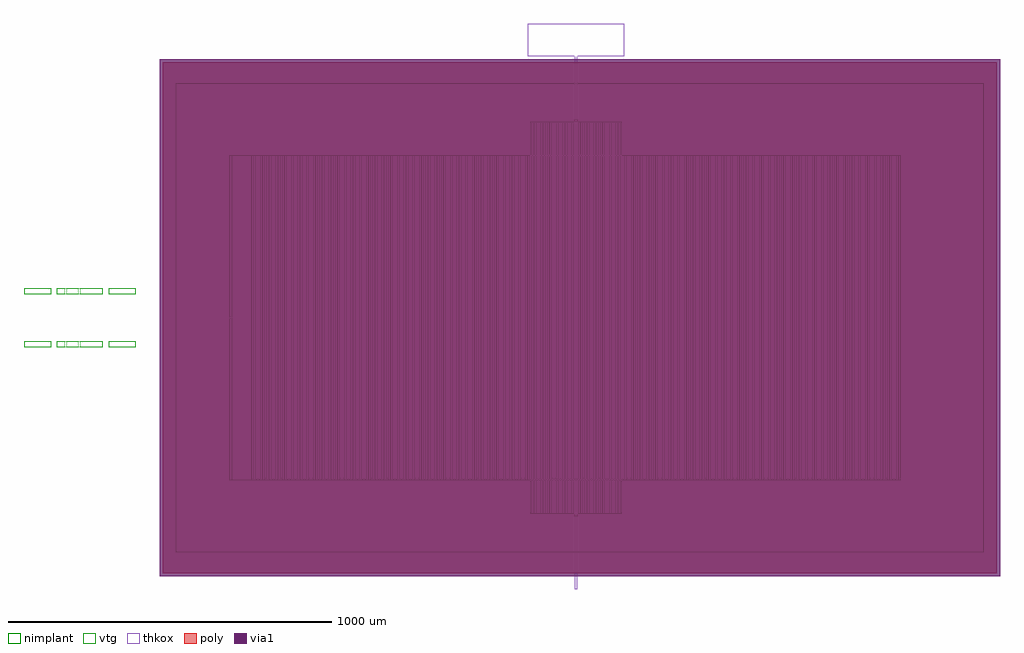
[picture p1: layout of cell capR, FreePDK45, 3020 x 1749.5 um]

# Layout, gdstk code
import gdstk
lib = gdstk.Library(unit=1e-6, precision=1e-09)
def R(c, l, rs):  # rectangles x0, y0, x1, y1
    for r in rs: c.add(gdstk.rectangle(r[:2], r[2:], *l))
def P(c, l, *ps):  # polygons
    for p in ps: c.add(gdstk.Polygon(p, *l))
nimplant = (4, 0)
vtg = (6, 0)
thkox = (8, 0)
poly = (9, 0)
via1 = (12, 0)

cap_300mhz = lib.new_cell('Cap_300MHz')
P(cap_300mhz, vtg, [(-6,-614),(-6,-607),(-141,-607),(-141,-505),(-139,-505),(-139,-605),(-133,-605),(-133,-505),(-131,-505),(-131,-605),(-125,-605),(-125,-505),(-123,-505),(-123,-605),(-117,-605),(-117,-505),(-115,-505),(-115,-605),(-109,-605),(-109,-505),(-107,-505),(-107,-605),(-101,-605),(-101,-505),(-99,-505),(-99,-605),(-93,-605),(-93,-505),(-91,-505),(-91,-605),(-85,-605),(-85,-505),(-83,-505),(-83,-605),(-77,-605),(-77,-505),(-75,-505),(-75,-605),(-69,-605),(-69,-505),(-67,-505),(-67,-605),(-61,-605),(-61,-505),(-59,-505),(-59,-605),(-53,-605),(-53,-505),(-51,-505),(-51,-605),(-45,-605),(-45,-505),(-43,-505),(-43,-605),(-37,-605),(-37,-505),(-35,-505),(-35,-605),(-29,-605),(-29,-505),(-27,-505),(-27,-605),(-21,-605),(-21,-505),(-19,-505),(-19,-605),(-13,-605),(-13,-505),(-11,-505),(-11,-605),(-5,-605),(-5,-505),(-3,-505),(-3,-605),(3,-605),(3,-505),(5,-505),(5,-605),(11,-605),(11,-505),(13,-505),(13,-605),(19,-605),(19,-505),(21,-505),(21,-605),(27,-605),(27,-505),(29,-505),(29,-605),(35,-605),(35,-505),(37,-505),(37,-605),(43,-605),(43,-505),(45,-505),(45,-605),(51,-605),(51,-505),(53,-505),(53,-605),(59,-605),(59,-505),(61,-505),(61,-605),(67,-605),(67,-505),(69,-505),(69,-605),(75,-605),(75,-505),(77,-505),(77,-605),(83,-605),(83,-505),(85,-505),(85,-605),(91,-605),(91,-505),(93,-505),(93,-605),(99,-605),(99,-505),(101,-505),(101,-605),(107,-605),(107,-505),(109,-505),(109,-605),(115,-605),(115,-505),(117,-505),(117,-605),(123,-605),(123,-505),(125,-505),(125,-605),(131,-605),(131,-505),(133,-505),(133,-605),(139,-605),(139,-505),(141,-505),(141,-607),(6,-607),(6,-614)],
  [(-137,505),(-137,605),(-141,605),(-141,607),(-6,607),(-6,614),(6,614),(6,607),(141,607),(141,605),(137,605),(137,505),(135,505),(135,605),(129,605),(129,505),(127,505),(127,605),(121,605),(121,505),(119,505),(119,605),(113,605),(113,505),(111,505),(111,605),(105,605),(105,505),(103,505),(103,605),(97,605),(97,505),(95,505),(95,605),(89,605),(89,505),(87,505),(87,605),(81,605),(81,505),(79,505),(79,605),(73,605),(73,505),(71,505),(71,605),(65,605),(65,505),(63,505),(63,605),(57,605),(57,505),(55,505),(55,605),(49,605),(49,505),(47,505),(47,605),(41,605),(41,505),(39,505),(39,605),(33,605),(33,505),(31,505),(31,605),(25,605),(25,505),(23,505),(23,605),(17,605),(17,505),(15,505),(15,605),(9,605),(9,505),(7,505),(7,605),(1,605),(1,505),(-1,505),(-1,605),(-7,605),(-7,505),(-9,505),(-9,605),(-15,605),(-15,505),(-17,505),(-17,605),(-23,605),(-23,505),(-25,505),(-25,605),(-31,605),(-31,505),(-33,505),(-33,605),(-39,605),(-39,505),(-41,505),(-41,605),(-47,605),(-47,505),(-49,505),(-49,605),(-55,605),(-55,505),(-57,505),(-57,605),(-63,605),(-63,505),(-65,505),(-65,605),(-71,605),(-71,505),(-73,505),(-73,605),(-79,605),(-79,505),(-81,505),(-81,605),(-87,605),(-87,505),(-89,505),(-89,605),(-95,605),(-95,505),(-97,505),(-97,605),(-103,605),(-103,505),(-105,505),(-105,605),(-111,605),(-111,505),(-113,505),(-113,605),(-119,605),(-119,505),(-121,505),(-121,605),(-127,605),(-127,505),(-129,505),(-129,605),(-135,605),(-135,505)],
  [(-1001,-499),(-1001,501),(-1005,501),(-1005,503),(-141,503),(-141,603),(-139,603),(-139,503),(-133,503),(-133,603),(-131,603),(-131,503),(-125,503),(-125,603),(-123,603),(-123,503),(-117,503),(-117,603),(-115,603),(-115,503),(-109,503),(-109,603),(-107,603),(-107,503),(-101,503),(-101,603),(-99,603),(-99,503),(-93,503),(-93,603),(-91,603),(-91,503),(-85,503),(-85,603),(-83,603),(-83,503),(-77,503),(-77,603),(-75,603),(-75,503),(-69,503),(-69,603),(-67,603),(-67,503),(-61,503),(-61,603),(-59,603),(-59,503),(-53,503),(-53,603),(-51,603),(-51,503),(-45,503),(-45,603),(-43,603),(-43,503),(-37,503),(-37,603),(-35,603),(-35,503),(-29,503),(-29,603),(-27,603),(-27,503),(-21,503),(-21,603),(-19,603),(-19,503),(-13,503),(-13,603),(-11,603),(-11,503),(-5,503),(-5,603),(-3,603),(-3,503),(3,503),(3,603),(5,603),(5,503),(11,503),(11,603),(13,603),(13,503),(19,503),(19,603),(21,603),(21,503),(27,503),(27,603),(29,603),(29,503),(35,503),(35,603),(37,603),(37,503),(43,503),(43,603),(45,603),(45,503),(51,503),(51,603),(53,603),(53,503),(59,503),(59,603),(61,603),(61,503),(67,503),(67,603),(69,603),(69,503),(75,503),(75,603),(77,603),(77,503),(83,503),(83,603),(85,603),(85,503),(91,503),(91,603),(93,603),(93,503),(99,503),(99,603),(101,603),(101,503),(107,503),(107,603),(109,603),(109,503),(115,503),(115,603),(117,603),(117,503),(123,503),(123,603),(125,603),(125,503),(131,503),(131,603),(133,603),(133,503),(139,503),(139,603),(141,603),(141,503),(1005,503),(1005,501),(1001,501),(1001,-499),(999,-499),(999,501),(993,501),(993,-499),(991,-499),(991,501),(985,501),(985,-499),(983,-499),(983,501),(977,501),(977,-499),(975,-499),(975,501),(969,501),(969,-499),(967,-499),(967,501),(961,501),(961,-499),(959,-499),(959,501),(953,501),(953,-499),(951,-499),(951,501),(945,501),(945,-499),(943,-499),(943,501),(937,501),(937,-499),(935,-499),(935,501),(929,501),(929,-499),(927,-499),(927,501),(921,501),(921,-499),(919,-499),(919,501),(913,501),(913,-499),(911,-499),(911,501),(905,501),(905,-499),(903,-499),(903,501),(897,501),(897,-499),(895,-499),(895,501),(889,501),(889,-499),(887,-499),(887,501),(881,501),(881,-499),(879,-499),(879,501),(873,501),(873,-499),(871,-499),(871,501),(865,501),(865,-499),(863,-499),(863,501),(857,501),(857,-499),(855,-499),(855,501),(849,501),(849,-499),(847,-499),(847,501),(841,501),(841,-499),(839,-499),(839,501),(833,501),(833,-499),(831,-499),(831,501),(825,501),(825,-499),(823,-499),(823,501),(817,501),(817,-499),(815,-499),(815,501),(809,501),(809,-499),(807,-499),(807,501),(801,501),(801,-499),(799,-499),(799,501),(793,501),(793,-499),(791,-499),(791,501),(785,501),(785,-499),(783,-499),(783,501),(777,501),(777,-499),(775,-499),(775,501),(769,501),(769,-499),(767,-499),(767,501),(761,501),(761,-499),(759,-499),(759,501),(753,501),(753,-499),(751,-499),(751,501),(745,501),(745,-499),(743,-499),(743,501),(737,501),(737,-499),(735,-499),(735,501),(729,501),(729,-499),(727,-499),(727,501),(721,501),(721,-499),(719,-499),(719,501),(713,501),(713,-499),(711,-499),(711,501),(705,501),(705,-499),(703,-499),(703,501),(697,501),(697,-499),(695,-499),(695,501),(689,501),(689,-499),(687,-499),(687,501),(681,501),(681,-499),(679,-499),(679,501),(673,501),(673,-499),(671,-499),(671,501),(665,501),(665,-499),(663,-499),(663,501),(657,501),(657,-499),(655,-499),(655,501),(649,501),(649,-499),(647,-499),(647,501),(641,501),(641,-499),(639,-499),(639,501),(633,501),(633,-499),(631,-499),(631,501),(625,501),(625,-499),(623,-499),(623,501),(617,501),(617,-499),(615,-499),(615,501),(609,501),(609,-499),(607,-499),(607,501),(601,501),(601,-499),(599,-499),(599,501),(593,501),(593,-499),(591,-499),(591,501),(585,501),(585,-499),(583,-499),(583,501),(577,501),(577,-499),(575,-499),(575,501),(569,501),(569,-499),(567,-499),(567,501),(561,501),(561,-499),(559,-499),(559,501),(553,501),(553,-499),(551,-499),(551,501),(545,501),(545,-499),(543,-499),(543,501),(537,501),(537,-499),(535,-499),(535,501),(529,501),(529,-499),(527,-499),(527,501),(521,501),(521,-499),(519,-499),(519,501),(513,501),(513,-499),(511,-499),(511,501),(505,501),(505,-499),(503,-499),(503,501),(497,501),(497,-499),(495,-499),(495,501),(489,501),(489,-499),(487,-499),(487,501),(481,501),(481,-499),(479,-499),(479,501),(473,501),(473,-499),(471,-499),(471,501),(465,501),(465,-499),(463,-499),(463,501),(457,501),(457,-499),(455,-499),(455,501),(449,501),(449,-499),(447,-499),(447,501),(441,501),(441,-499),(439,-499),(439,501),(433,501),(433,-499),(431,-499),(431,501),(425,501),(425,-499),(423,-499),(423,501),(417,501),(417,-499),(415,-499),(415,501),(409,501),(409,-499),(407,-499),(407,501),(401,501),(401,-499),(399,-499),(399,501),(393,501),(393,-499),(391,-499),(391,501),(385,501),(385,-499),(383,-499),(383,501),(377,501),(377,-499),(375,-499),(375,501),(369,501),(369,-499),(367,-499),(367,501),(361,501),(361,-499),(359,-499),(359,501),(353,501),(353,-499),(351,-499),(351,501),(345,501),(345,-499),(343,-499),(343,501),(337,501),(337,-499),(335,-499),(335,501),(329,501),(329,-499),(327,-499),(327,501),(321,501),(321,-499),(319,-499),(319,501),(313,501),(313,-499),(311,-499),(311,501),(305,501),(305,-499),(303,-499),(303,501),(297,501),(297,-499),(295,-499),(295,501),(289,501),(289,-499),(287,-499),(287,501),(281,501),(281,-499),(279,-499),(279,501),(273,501),(273,-499),(271,-499),(271,501),(265,501),(265,-499),(263,-499),(263,501),(257,501),(257,-499),(255,-499),(255,501),(249,501),(249,-499),(247,-499),(247,501),(241,501),(241,-499),(239,-499),(239,501),(233,501),(233,-499),(231,-499),(231,501),(225,501),(225,-499),(223,-499),(223,501),(217,501),(217,-499),(215,-499),(215,501),(209,501),(209,-499),(207,-499),(207,501),(201,501),(201,-499),(199,-499),(199,501),(193,501),(193,-499),(191,-499),(191,501),(185,501),(185,-499),(183,-499),(183,501),(177,501),(177,-499),(175,-499),(175,501),(169,501),(169,-499),(167,-499),(167,501),(161,501),(161,-499),(159,-499),(159,501),(153,501),(153,-499),(151,-499),(151,501),(145,501),(145,-499),(143,-499),(143,501),(137,501),(137,-499),(135,-499),(135,501),(129,501),(129,-499),(127,-499),(127,501),(121,501),(121,-499),(119,-499),(119,501),(113,501),(113,-499),(111,-499),(111,501),(105,501),(105,-499),(103,-499),(103,501),(97,501),(97,-499),(95,-499),(95,501),(89,501),(89,-499),(87,-499),(87,501),(81,501),(81,-499),(79,-499),(79,501),(73,501),(73,-499),(71,-499),(71,501),(65,501),(65,-499),(63,-499),(63,501),(57,501),(57,-499),(55,-499),(55,501),(49,501),(49,-499),(47,-499),(47,501),(41,501),(41,-499),(39,-499),(39,501),(33,501),(33,-499),(31,-499),(31,501),(25,501),(25,-499),(23,-499),(23,501),(17,501),(17,-499),(15,-499),(15,501),(9,501),(9,-499),(7,-499),(7,501),(1,501),(1,-499),(-1,-499),(-1,501),(-7,501),(-7,-499),(-9,-499),(-9,501),(-15,501),(-15,-499),(-17,-499),(-17,501),(-23,501),(-23,-499),(-25,-499),(-25,501),(-31,501),(-31,-499),(-33,-499),(-33,501),(-39,501),(-39,-499),(-41,-499),(-41,501),(-47,501),(-47,-499),(-49,-499),(-49,501),(-55,501),(-55,-499),(-57,-499),(-57,501),(-63,501),(-63,-499),(-65,-499),(-65,501),(-71,501),(-71,-499),(-73,-499),(-73,501),(-79,501),(-79,-499),(-81,-499),(-81,501),(-87,501),(-87,-499),(-89,-499),(-89,501),(-95,501),(-95,-499),(-97,-499),(-97,501),(-103,501),(-103,-499),(-105,-499),(-105,501),(-111,501),(-111,-499),(-113,-499),(-113,501),(-119,501),(-119,-499),(-121,-499),(-121,501),(-127,501),(-127,-499),(-129,-499),(-129,501),(-135,501),(-135,-499),(-137,-499),(-137,501),(-143,501),(-143,-499),(-145,-499),(-145,501),(-151,501),(-151,-499),(-153,-499),(-153,501),(-159,501),(-159,-499),(-161,-499),(-161,501),(-167,501),(-167,-499),(-169,-499),(-169,501),(-175,501),(-175,-499),(-177,-499),(-177,501),(-183,501),(-183,-499),(-185,-499),(-185,501),(-191,501),(-191,-499),(-193,-499),(-193,501),(-199,501),(-199,-499),(-201,-499),(-201,501),(-207,501),(-207,-499),(-209,-499),(-209,501),(-215,501),(-215,-499),(-217,-499),(-217,501),(-223,501),(-223,-499),(-225,-499),(-225,501),(-231,501),(-231,-499),(-233,-499),(-233,501),(-239,501),(-239,-499),(-241,-499),(-241,501),(-247,501),(-247,-499),(-249,-499),(-249,501),(-255,501),(-255,-499),(-257,-499),(-257,501),(-263,501),(-263,-499),(-265,-499),(-265,501),(-271,501),(-271,-499),(-273,-499),(-273,501),(-279,501),(-279,-499),(-281,-499),(-281,501),(-287,501),(-287,-499),(-289,-499),(-289,501),(-295,501),(-295,-499),(-297,-499),(-297,501),(-303,501),(-303,-499),(-305,-499),(-305,501),(-311,501),(-311,-499),(-313,-499),(-313,501),(-319,501),(-319,-499),(-321,-499),(-321,501),(-327,501),(-327,-499),(-329,-499),(-329,501),(-335,501),(-335,-499),(-337,-499),(-337,501),(-343,501),(-343,-499),(-345,-499),(-345,501),(-351,501),(-351,-499),(-353,-499),(-353,501),(-359,501),(-359,-499),(-361,-499),(-361,501),(-367,501),(-367,-499),(-369,-499),(-369,501),(-375,501),(-375,-499),(-377,-499),(-377,501),(-383,501),(-383,-499),(-385,-499),(-385,501),(-391,501),(-391,-499),(-393,-499),(-393,501),(-399,501),(-399,-499),(-401,-499),(-401,501),(-407,501),(-407,-499),(-409,-499),(-409,501),(-415,501),(-415,-499),(-417,-499),(-417,501),(-423,501),(-423,-499),(-425,-499),(-425,501),(-431,501),(-431,-499),(-433,-499),(-433,501),(-439,501),(-439,-499),(-441,-499),(-441,501),(-447,501),(-447,-499),(-449,-499),(-449,501),(-455,501),(-455,-499),(-457,-499),(-457,501),(-463,501),(-463,-499),(-465,-499),(-465,501),(-471,501),(-471,-499),(-473,-499),(-473,501),(-479,501),(-479,-499),(-481,-499),(-481,501),(-487,501),(-487,-499),(-489,-499),(-489,501),(-495,501),(-495,-499),(-497,-499),(-497,501),(-503,501),(-503,-499),(-505,-499),(-505,501),(-511,501),(-511,-499),(-513,-499),(-513,501),(-519,501),(-519,-499),(-521,-499),(-521,501),(-527,501),(-527,-499),(-529,-499),(-529,501),(-535,501),(-535,-499),(-537,-499),(-537,501),(-543,501),(-543,-499),(-545,-499),(-545,501),(-551,501),(-551,-499),(-553,-499),(-553,501),(-559,501),(-559,-499),(-561,-499),(-561,501),(-567,501),(-567,-499),(-569,-499),(-569,501),(-575,501),(-575,-499),(-577,-499),(-577,501),(-583,501),(-583,-499),(-585,-499),(-585,501),(-591,501),(-591,-499),(-593,-499),(-593,501),(-599,501),(-599,-499),(-601,-499),(-601,501),(-607,501),(-607,-499),(-609,-499),(-609,501),(-615,501),(-615,-499),(-617,-499),(-617,501),(-623,501),(-623,-499),(-625,-499),(-625,501),(-631,501),(-631,-499),(-633,-499),(-633,501),(-639,501),(-639,-499),(-641,-499),(-641,501),(-647,501),(-647,-499),(-649,-499),(-649,501),(-655,501),(-655,-499),(-657,-499),(-657,501),(-663,501),(-663,-499),(-665,-499),(-665,501),(-671,501),(-671,-499),(-673,-499),(-673,501),(-679,501),(-679,-499),(-681,-499),(-681,501),(-687,501),(-687,-499),(-689,-499),(-689,501),(-695,501),(-695,-499),(-697,-499),(-697,501),(-703,501),(-703,-499),(-705,-499),(-705,501),(-711,501),(-711,-499),(-713,-499),(-713,501),(-719,501),(-719,-499),(-721,-499),(-721,501),(-727,501),(-727,-499),(-729,-499),(-729,501),(-735,501),(-735,-499),(-737,-499),(-737,501),(-743,501),(-743,-499),(-745,-499),(-745,501),(-751,501),(-751,-499),(-753,-499),(-753,501),(-759,501),(-759,-499),(-761,-499),(-761,501),(-767,501),(-767,-499),(-769,-499),(-769,501),(-775,501),(-775,-499),(-777,-499),(-777,501),(-783,501),(-783,-499),(-785,-499),(-785,501),(-791,501),(-791,-499),(-793,-499),(-793,501),(-799,501),(-799,-499),(-801,-499),(-801,501),(-807,501),(-807,-499),(-809,-499),(-809,501),(-815,501),(-815,-499),(-817,-499),(-817,501),(-823,501),(-823,-499),(-825,-499),(-825,501),(-831,501),(-831,-499),(-833,-499),(-833,501),(-839,501),(-839,-499),(-841,-499),(-841,501),(-847,501),(-847,-499),(-849,-499),(-849,501),(-855,501),(-855,-499),(-857,-499),(-857,501),(-863,501),(-863,-499),(-865,-499),(-865,501),(-871,501),(-871,-499),(-873,-499),(-873,501),(-879,501),(-879,-499),(-881,-499),(-881,501),(-887,501),(-887,-499),(-889,-499),(-889,501),(-895,501),(-895,-499),(-897,-499),(-897,501),(-903,501),(-903,-499),(-905,-499),(-905,501),(-911,501),(-911,-499),(-913,-499),(-913,501),(-919,501),(-919,-499),(-921,-499),(-921,501),(-927,501),(-927,-499),(-929,-499),(-929,501),(-935,501),(-935,-499),(-937,-499),(-937,501),(-943,501),(-943,-499),(-945,-499),(-945,501),(-951,501),(-951,-499),(-953,-499),(-953,501),(-959,501),(-959,-499),(-961,-499),(-961,501),(-967,501),(-967,-499),(-969,-499),(-969,501),(-975,501),(-975,-499),(-977,-499),(-977,501),(-983,501),(-983,-499),(-985,-499),(-985,501),(-991,501),(-991,-499),(-993,-499),(-993,501),(-999,501),(-999,-499)],
  [(-137,-603),(-137,-503),(-1005,-503),(-1005,499),(-1003,499),(-1003,-501),(-997,-501),(-997,499),(-995,499),(-995,-501),(-989,-501),(-989,499),(-987,499),(-987,-501),(-981,-501),(-981,499),(-979,499),(-979,-501),(-973,-501),(-973,499),(-971,499),(-971,-501),(-965,-501),(-965,499),(-963,499),(-963,-501),(-957,-501),(-957,499),(-955,499),(-955,-501),(-949,-501),(-949,499),(-947,499),(-947,-501),(-941,-501),(-941,499),(-939,499),(-939,-501),(-933,-501),(-933,499),(-931,499),(-931,-501),(-925,-501),(-925,499),(-923,499),(-923,-501),(-917,-501),(-917,499),(-915,499),(-915,-501),(-909,-501),(-909,499),(-907,499),(-907,-501),(-901,-501),(-901,499),(-899,499),(-899,-501),(-893,-501),(-893,499),(-891,499),(-891,-501),(-885,-501),(-885,499),(-883,499),(-883,-501),(-877,-501),(-877,499),(-875,499),(-875,-501),(-869,-501),(-869,499),(-867,499),(-867,-501),(-861,-501),(-861,499),(-859,499),(-859,-501),(-853,-501),(-853,499),(-851,499),(-851,-501),(-845,-501),(-845,499),(-843,499),(-843,-501),(-837,-501),(-837,499),(-835,499),(-835,-501),(-829,-501),(-829,499),(-827,499),(-827,-501),(-821,-501),(-821,499),(-819,499),(-819,-501),(-813,-501),(-813,499),(-811,499),(-811,-501),(-805,-501),(-805,499),(-803,499),(-803,-501),(-797,-501),(-797,499),(-795,499),(-795,-501),(-789,-501),(-789,499),(-787,499),(-787,-501),(-781,-501),(-781,499),(-779,499),(-779,-501),(-773,-501),(-773,499),(-771,499),(-771,-501),(-765,-501),(-765,499),(-763,499),(-763,-501),(-757,-501),(-757,499),(-755,499),(-755,-501),(-749,-501),(-749,499),(-747,499),(-747,-501),(-741,-501),(-741,499),(-739,499),(-739,-501),(-733,-501),(-733,499),(-731,499),(-731,-501),(-725,-501),(-725,499),(-723,499),(-723,-501),(-717,-501),(-717,499),(-715,499),(-715,-501),(-709,-501),(-709,499),(-707,499),(-707,-501),(-701,-501),(-701,499),(-699,499),(-699,-501),(-693,-501),(-693,499),(-691,499),(-691,-501),(-685,-501),(-685,499),(-683,499),(-683,-501),(-677,-501),(-677,499),(-675,499),(-675,-501),(-669,-501),(-669,499),(-667,499),(-667,-501),(-661,-501),(-661,499),(-659,499),(-659,-501),(-653,-501),(-653,499),(-651,499),(-651,-501),(-645,-501),(-645,499),(-643,499),(-643,-501),(-637,-501),(-637,499),(-635,499),(-635,-501),(-629,-501),(-629,499),(-627,499),(-627,-501),(-621,-501),(-621,499),(-619,499),(-619,-501),(-613,-501),(-613,499),(-611,499),(-611,-501),(-605,-501),(-605,499),(-603,499),(-603,-501),(-597,-501),(-597,499),(-595,499),(-595,-501),(-589,-501),(-589,499),(-587,499),(-587,-501),(-581,-501),(-581,499),(-579,499),(-579,-501),(-573,-501),(-573,499),(-571,499),(-571,-501),(-565,-501),(-565,499),(-563,499),(-563,-501),(-557,-501),(-557,499),(-555,499),(-555,-501),(-549,-501),(-549,499),(-547,499),(-547,-501),(-541,-501),(-541,499),(-539,499),(-539,-501),(-533,-501),(-533,499),(-531,499),(-531,-501),(-525,-501),(-525,499),(-523,499),(-523,-501),(-517,-501),(-517,499),(-515,499),(-515,-501),(-509,-501),(-509,499),(-507,499),(-507,-501),(-501,-501),(-501,499),(-499,499),(-499,-501),(-493,-501),(-493,499),(-491,499),(-491,-501),(-485,-501),(-485,499),(-483,499),(-483,-501),(-477,-501),(-477,499),(-475,499),(-475,-501),(-469,-501),(-469,499),(-467,499),(-467,-501),(-461,-501),(-461,499),(-459,499),(-459,-501),(-453,-501),(-453,499),(-451,499),(-451,-501),(-445,-501),(-445,499),(-443,499),(-443,-501),(-437,-501),(-437,499),(-435,499),(-435,-501),(-429,-501),(-429,499),(-427,499),(-427,-501),(-421,-501),(-421,499),(-419,499),(-419,-501),(-413,-501),(-413,499),(-411,499),(-411,-501),(-405,-501),(-405,499),(-403,499),(-403,-501),(-397,-501),(-397,499),(-395,499),(-395,-501),(-389,-501),(-389,499),(-387,499),(-387,-501),(-381,-501),(-381,499),(-379,499),(-379,-501),(-373,-501),(-373,499),(-371,499),(-371,-501),(-365,-501),(-365,499),(-363,499),(-363,-501),(-357,-501),(-357,499),(-355,499),(-355,-501),(-349,-501),(-349,499),(-347,499),(-347,-501),(-341,-501),(-341,499),(-339,499),(-339,-501),(-333,-501),(-333,499),(-331,499),(-331,-501),(-325,-501),(-325,499),(-323,499),(-323,-501),(-317,-501),(-317,499),(-315,499),(-315,-501),(-309,-501),(-309,499),(-307,499),(-307,-501),(-301,-501),(-301,499),(-299,499),(-299,-501),(-293,-501),(-293,499),(-291,499),(-291,-501),(-285,-501),(-285,499),(-283,499),(-283,-501),(-277,-501),(-277,499),(-275,499),(-275,-501),(-269,-501),(-269,499),(-267,499),(-267,-501),(-261,-501),(-261,499),(-259,499),(-259,-501),(-253,-501),(-253,499),(-251,499),(-251,-501),(-245,-501),(-245,499),(-243,499),(-243,-501),(-237,-501),(-237,499),(-235,499),(-235,-501),(-229,-501),(-229,499),(-227,499),(-227,-501),(-221,-501),(-221,499),(-219,499),(-219,-501),(-213,-501),(-213,499),(-211,499),(-211,-501),(-205,-501),(-205,499),(-203,499),(-203,-501),(-197,-501),(-197,499),(-195,499),(-195,-501),(-189,-501),(-189,499),(-187,499),(-187,-501),(-181,-501),(-181,499),(-179,499),(-179,-501),(-173,-501),(-173,499),(-171,499),(-171,-501),(-165,-501),(-165,499),(-163,499),(-163,-501),(-157,-501),(-157,499),(-155,499),(-155,-501),(-149,-501),(-149,499),(-147,499),(-147,-501),(-141,-501),(-141,499),(-139,499),(-139,-501),(-133,-501),(-133,499),(-131,499),(-131,-501),(-125,-501),(-125,499),(-123,499),(-123,-501),(-117,-501),(-117,499),(-115,499),(-115,-501),(-109,-501),(-109,499),(-107,499),(-107,-501),(-101,-501),(-101,499),(-99,499),(-99,-501),(-93,-501),(-93,499),(-91,499),(-91,-501),(-85,-501),(-85,499),(-83,499),(-83,-501),(-77,-501),(-77,499),(-75,499),(-75,-501),(-69,-501),(-69,499),(-67,499),(-67,-501),(-61,-501),(-61,499),(-59,499),(-59,-501),(-53,-501),(-53,499),(-51,499),(-51,-501),(-45,-501),(-45,499),(-43,499),(-43,-501),(-37,-501),(-37,499),(-35,499),(-35,-501),(-29,-501),(-29,499),(-27,499),(-27,-501),(-21,-501),(-21,499),(-19,499),(-19,-501),(-13,-501),(-13,499),(-11,499),(-11,-501),(-5,-501),(-5,499),(-3,499),(-3,-501),(3,-501),(3,499),(5,499),(5,-501),(11,-501),(11,499),(13,499),(13,-501),(19,-501),(19,499),(21,499),(21,-501),(27,-501),(27,499),(29,499),(29,-501),(35,-501),(35,499),(37,499),(37,-501),(43,-501),(43,499),(45,499),(45,-501),(51,-501),(51,499),(53,499),(53,-501),(59,-501),(59,499),(61,499),(61,-501),(67,-501),(67,499),(69,499),(69,-501),(75,-501),(75,499),(77,499),(77,-501),(83,-501),(83,499),(85,499),(85,-501),(91,-501),(91,499),(93,499),(93,-501),(99,-501),(99,499),(101,499),(101,-501),(107,-501),(107,499),(109,499),(109,-501),(115,-501),(115,499),(117,499),(117,-501),(123,-501),(123,499),(125,499),(125,-501),(131,-501),(131,499),(133,499),(133,-501),(139,-501),(139,499),(141,499),(141,-501),(147,-501),(147,499),(149,499),(149,-501),(155,-501),(155,499),(157,499),(157,-501),(163,-501),(163,499),(165,499),(165,-501),(171,-501),(171,499),(173,499),(173,-501),(179,-501),(179,499),(181,499),(181,-501),(187,-501),(187,499),(189,499),(189,-501),(195,-501),(195,499),(197,499),(197,-501),(203,-501),(203,499),(205,499),(205,-501),(211,-501),(211,499),(213,499),(213,-501),(219,-501),(219,499),(221,499),(221,-501),(227,-501),(227,499),(229,499),(229,-501),(235,-501),(235,499),(237,499),(237,-501),(243,-501),(243,499),(245,499),(245,-501),(251,-501),(251,499),(253,499),(253,-501),(259,-501),(259,499),(261,499),(261,-501),(267,-501),(267,499),(269,499),(269,-501),(275,-501),(275,499),(277,499),(277,-501),(283,-501),(283,499),(285,499),(285,-501),(291,-501),(291,499),(293,499),(293,-501),(299,-501),(299,499),(301,499),(301,-501),(307,-501),(307,499),(309,499),(309,-501),(315,-501),(315,499),(317,499),(317,-501),(323,-501),(323,499),(325,499),(325,-501),(331,-501),(331,499),(333,499),(333,-501),(339,-501),(339,499),(341,499),(341,-501),(347,-501),(347,499),(349,499),(349,-501),(355,-501),(355,499),(357,499),(357,-501),(363,-501),(363,499),(365,499),(365,-501),(371,-501),(371,499),(373,499),(373,-501),(379,-501),(379,499),(381,499),(381,-501),(387,-501),(387,499),(389,499),(389,-501),(395,-501),(395,499),(397,499),(397,-501),(403,-501),(403,499),(405,499),(405,-501),(411,-501),(411,499),(413,499),(413,-501),(419,-501),(419,499),(421,499),(421,-501),(427,-501),(427,499),(429,499),(429,-501),(435,-501),(435,499),(437,499),(437,-501),(443,-501),(443,499),(445,499),(445,-501),(451,-501),(451,499),(453,499),(453,-501),(459,-501),(459,499),(461,499),(461,-501),(467,-501),(467,499),(469,499),(469,-501),(475,-501),(475,499),(477,499),(477,-501),(483,-501),(483,499),(485,499),(485,-501),(491,-501),(491,499),(493,499),(493,-501),(499,-501),(499,499),(501,499),(501,-501),(507,-501),(507,499),(509,499),(509,-501),(515,-501),(515,499),(517,499),(517,-501),(523,-501),(523,499),(525,499),(525,-501),(531,-501),(531,499),(533,499),(533,-501),(539,-501),(539,499),(541,499),(541,-501),(547,-501),(547,499),(549,499),(549,-501),(555,-501),(555,499),(557,499),(557,-501),(563,-501),(563,499),(565,499),(565,-501),(571,-501),(571,499),(573,499),(573,-501),(579,-501),(579,499),(581,499),(581,-501),(587,-501),(587,499),(589,499),(589,-501),(595,-501),(595,499),(597,499),(597,-501),(603,-501),(603,499),(605,499),(605,-501),(611,-501),(611,499),(613,499),(613,-501),(619,-501),(619,499),(621,499),(621,-501),(627,-501),(627,499),(629,499),(629,-501),(635,-501),(635,499),(637,499),(637,-501),(643,-501),(643,499),(645,499),(645,-501),(651,-501),(651,499),(653,499),(653,-501),(659,-501),(659,499),(661,499),(661,-501),(667,-501),(667,499),(669,499),(669,-501),(675,-501),(675,499),(677,499),(677,-501),(683,-501),(683,499),(685,499),(685,-501),(691,-501),(691,499),(693,499),(693,-501),(699,-501),(699,499),(701,499),(701,-501),(707,-501),(707,499),(709,499),(709,-501),(715,-501),(715,499),(717,499),(717,-501),(723,-501),(723,499),(725,499),(725,-501),(731,-501),(731,499),(733,499),(733,-501),(739,-501),(739,499),(741,499),(741,-501),(747,-501),(747,499),(749,499),(749,-501),(755,-501),(755,499),(757,499),(757,-501),(763,-501),(763,499),(765,499),(765,-501),(771,-501),(771,499),(773,499),(773,-501),(779,-501),(779,499),(781,499),(781,-501),(787,-501),(787,499),(789,499),(789,-501),(795,-501),(795,499),(797,499),(797,-501),(803,-501),(803,499),(805,499),(805,-501),(811,-501),(811,499),(813,499),(813,-501),(819,-501),(819,499),(821,499),(821,-501),(827,-501),(827,499),(829,499),(829,-501),(835,-501),(835,499),(837,499),(837,-501),(843,-501),(843,499),(845,499),(845,-501),(851,-501),(851,499),(853,499),(853,-501),(859,-501),(859,499),(861,499),(861,-501),(867,-501),(867,499),(869,499),(869,-501),(875,-501),(875,499),(877,499),(877,-501),(883,-501),(883,499),(885,499),(885,-501),(891,-501),(891,499),(893,499),(893,-501),(899,-501),(899,499),(901,499),(901,-501),(907,-501),(907,499),(909,499),(909,-501),(915,-501),(915,499),(917,499),(917,-501),(923,-501),(923,499),(925,499),(925,-501),(931,-501),(931,499),(933,499),(933,-501),(939,-501),(939,499),(941,499),(941,-501),(947,-501),(947,499),(949,499),(949,-501),(955,-501),(955,499),(957,499),(957,-501),(963,-501),(963,499),(965,499),(965,-501),(971,-501),(971,499),(973,499),(973,-501),(979,-501),(979,499),(981,499),(981,-501),(987,-501),(987,499),(989,499),(989,-501),(995,-501),(995,499),(997,499),(997,-501),(1003,-501),(1003,499),(1005,499),(1005,-503),(137,-503),(137,-603),(135,-603),(135,-503),(129,-503),(129,-603),(127,-603),(127,-503),(121,-503),(121,-603),(119,-603),(119,-503),(113,-503),(113,-603),(111,-603),(111,-503),(105,-503),(105,-603),(103,-603),(103,-503),(97,-503),(97,-603),(95,-603),(95,-503),(89,-503),(89,-603),(87,-603),(87,-503),(81,-503),(81,-603),(79,-603),(79,-503),(73,-503),(73,-603),(71,-603),(71,-503),(65,-503),(65,-603),(63,-603),(63,-503),(57,-503),(57,-603),(55,-603),(55,-503),(49,-503),(49,-603),(47,-603),(47,-503),(41,-503),(41,-603),(39,-603),(39,-503),(33,-503),(33,-603),(31,-603),(31,-503),(25,-503),(25,-603),(23,-603),(23,-503),(17,-503),(17,-603),(15,-603),(15,-503),(9,-503),(9,-603),(7,-603),(7,-503),(1,-503),(1,-603),(-1,-603),(-1,-503),(-7,-503),(-7,-603),(-9,-603),(-9,-503),(-15,-503),(-15,-603),(-17,-603),(-17,-503),(-23,-503),(-23,-603),(-25,-603),(-25,-503),(-31,-503),(-31,-603),(-33,-603),(-33,-503),(-39,-503),(-39,-603),(-41,-603),(-41,-503),(-47,-503),(-47,-603),(-49,-603),(-49,-503),(-55,-503),(-55,-603),(-57,-603),(-57,-503),(-63,-503),(-63,-603),(-65,-603),(-65,-503),(-71,-503),(-71,-603),(-73,-603),(-73,-503),(-79,-503),(-79,-603),(-81,-603),(-81,-503),(-87,-503),(-87,-603),(-89,-603),(-89,-503),(-95,-503),(-95,-603),(-97,-603),(-97,-503),(-103,-503),(-103,-603),(-105,-603),(-105,-503),(-111,-503),(-111,-603),(-113,-603),(-113,-503),(-119,-503),(-119,-603),(-121,-603),(-121,-503),(-127,-503),(-127,-603),(-129,-603),(-129,-503),(-135,-503),(-135,-603)])

cap_terminator_right = lib.new_cell('Cap_Terminator_Right')
R(cap_terminator_right, vtg, [(-356,-91,-314,-73), (-312,-91,-272,-73), (-254,-91,-228,-73), (-226,-91,-186,-73), (-184,-91,-144,-73), (-142,-91,-112,-73), (-94,-91,-54,-73), (-52,-91,-10,-73), (-356,73,-314,91), (-312,73,-272,91), (-254,73,-228,91), (-226,73,-186,91), (-184,73,-144,91), (-142,73,-112,91), (-94,73,-54,91), (-52,73,-10,91)])
P(cap_terminator_right, vtg, [(279,-503),(279,-1),(289,-1),(289,-501),(356,-501),(356,-503)],
  [(279,1),(279,503),(356,503),(356,501),(289,501),(289,1)])

cap2_feedline = lib.new_cell('cap2_feedline')
R(cap2_feedline, thkox, [(-4,-117,4,117)])

cap_2_via = lib.new_cell('cap_2_via')
R(cap_2_via, thkox, [(-4,-152,4,79), (-150,52,150,152)])

ground_plane_cap_cutout = lib.new_cell('Ground_Plane_cap_cutout')
R(ground_plane_cap_cutout, via1, [(-1300,-800,1300,800)])

lsn_cap_cutouts_bak = lib.new_cell('LSN_Cap_cutouts_bak')
R(lsn_cap_cutouts_bak, nimplant, [(-1250,-725,1250,725)])

ild_cap_cutout = lib.new_cell('ILD_cap_cutout')
R(ild_cap_cutout, poly, [(-1290,-790,1290,790)])

capr = lib.new_cell('capR')
capr.add(gdstk.Reference(cap_300mhz, (-12,0)))
capr.add(gdstk.Reference(cap_terminator_right, (-1364,0)))
capr.add(gdstk.Reference(cap2_feedline, (-12,-723)))
capr.add(gdstk.Reference(cap_2_via, (-12,757.5)))
capr.add(gdstk.Reference(ground_plane_cap_cutout, (0,0)))
capr.add(gdstk.Reference(lsn_cap_cutouts_bak, (0,0)))
capr.add(gdstk.Reference(ild_cap_cutout, (0,0)))

lib.write_gds('capR.gds')
